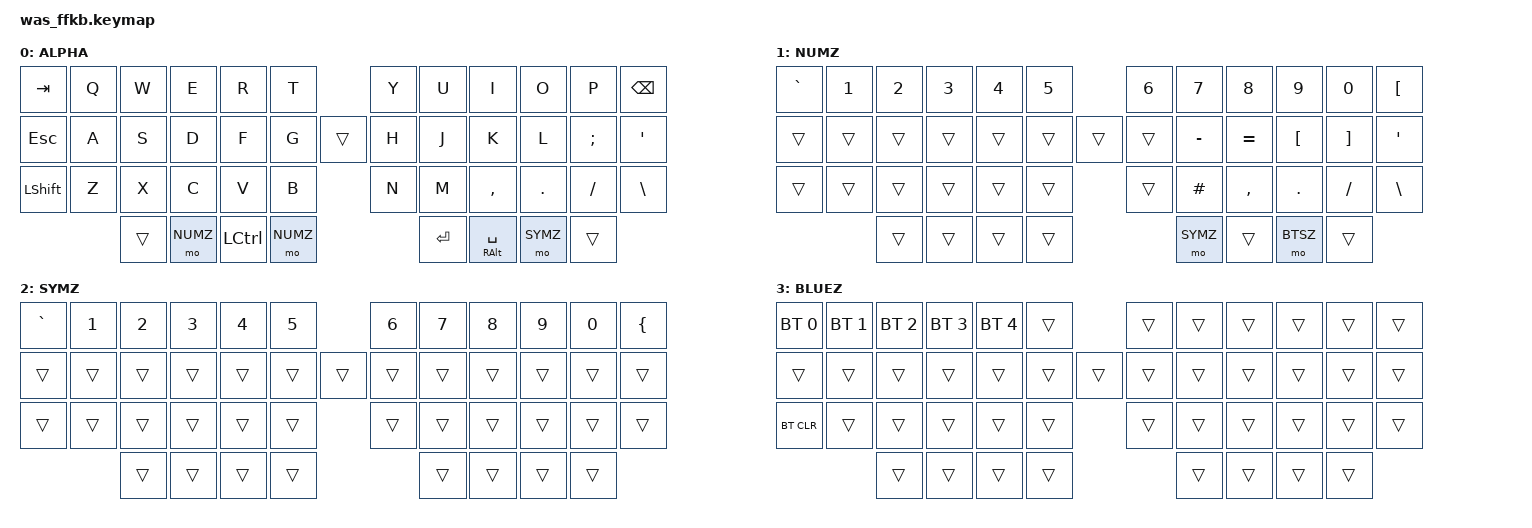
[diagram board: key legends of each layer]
#include <behaviors.dtsi>
#include <dt-bindings/zmk/keys.h>
#include <dt-bindings/zmk/bt.h>
#include <dt-bindings/zmk/ext_power.h>
#include <dt-bindings/zmk/outputs.h>

#define ALPH 0     // alphaz
#define NUMZ 1     // numz
#define SYMZ 2     // symz
#define BTSZ 3     // bluez

// slash like for comments, and equals

&mt {
    tapping-term-ms = <200>;
    flavor = "tap-preferred";
};

/ {
    // some other configs go here 
};

/ {

    keymap {
        compatible = "zmk,keymap";

        default_layer {
            label = "ALPHA";
            bindings = <
  //,--------|--------|--------|--------|--------|--------|                 |--------|--------|--------|--------|--------|--------|
     &kp TAB    &kp Q   &kp W    &kp E    &kp R    &kp T                      &kp Y    &kp U    &kp I    &kp O    &kp P   &kp BSPC
  //,--------|--------|--------|--------|--------|--------|                 |--------|--------|--------|--------|--------|--------|
     &kp ESC    &kp A   &kp S    &kp D    &kp F    &kp G        &trans        &kp H    &kp J    &kp K    &kp L   &kp SEMI  &kp SQT
  //,--------|--------|--------|--------|--------|--------|                 |--------|--------|--------|--------|--------|--------|
    &kp LSHIFT  &kp Z    &kp X    &kp C    &kp V    &kp B                     &kp N    &kp M   &kp COMMA  &kp DOT  &kp FSLH  &kp BSLH
  //,--------|--------|--------|--------|--------|--------|                 |--------|--------|--------|--------|--------|--------|
                       //&kp A    &kp S    &kp D    &kp F                       &kp G     &kp H    &kp J    &kp K    
                        &trans  &mo NUMZ  &kp LCTRL &mo NUMZ                  &kp RET   &mt RALT SPACE &mo SYMZ &trans
  //                           |--------|--------|--------|                 |--------|--------|--------|
            >;
        };

        nav_layer {
            label = "NUMZ";
            bindings = <
  //,--------|--------|--------|--------|--------|--------|                 |--------|--------|--------|--------|--------|--------|
    &kp GRAVE  &kp N1   &kp N2   &kp N3   &kp N4   &kp N5                     &kp N6   &kp N7   &kp N8   &kp N9   &kp N0  &kp LBKT
  //,--------|--------|--------|--------|--------|--------|                 |--------|--------|--------|--------|--------|--------|
    &trans     &trans   &trans   &trans   &trans   &trans        &trans       &trans  &kp MINUS &kp EQUAL &kp LBKT &kp RBKT &kp SQT
  //,--------|--------|--------|--------|--------|--------|                 |--------|--------|--------|--------|--------|--------|
    &trans     &trans   &trans   &trans   &trans   &trans                     &trans  &kp HASH &kp COMMA &kp DOT &kp FSLH &kp BSLH
  //,--------|--------|--------|--------|--------|--------|                 |--------|--------|--------|--------|--------|--------|
                        &trans    &trans   &trans  &trans                   &mo SYMZ  &trans  &mo BTSZ &trans
  //                           |--------|--------|--------|                 |--------|--------|--------|
  // 
            >;
        };

        sym_layer {
            label = "SYMZ";
            bindings = <
  //,--------|--------|--------|--------|--------|--------|                 |--------|--------|--------|--------|--------|--------|
    &kp GRAVE  &kp N1   &kp N2   &kp N3   &kp N4   &kp N5                     &kp N6   &kp N7   &kp N8   &kp N9   &kp N0  &kp LBRC
  //,--------|--------|--------|--------|--------|--------|                 |--------|--------|--------|--------|--------|--------|
    &trans     &trans   &trans   &trans   &trans   &trans        &trans       &trans     &trans   &trans   &trans   &trans   &trans
  //,--------|--------|--------|--------|--------|--------|                 |--------|--------|--------|--------|--------|--------|
    &trans     &trans   &trans   &trans   &trans   &trans                     &trans     &trans   &trans   &trans   &trans   &trans
  //,--------|--------|--------|--------|--------|--------|                 |--------|--------|--------|--------|--------|--------|
                        &trans  &trans    &trans   &trans                    &trans    &trans   &trans  &trans
  //                           |--------|--------|--------|                 |--------|--------|--------|
  // 
            >;
        };

        func_layer {
            label = "BLUEZ";
            bindings = <
  //,--------|--------|--------|--------|--------|--------|                 |--------|--------|--------|--------|--------|--------|
   &bt BT_SEL 0 &bt BT_SEL 1 &bt BT_SEL 2 &bt BT_SEL 3 &bt BT_SEL 4 &trans   &trans     &trans   &trans   &trans   &trans   &trans
  //,--------|--------|--------|--------|--------|--------|                 |--------|--------|--------|--------|--------|--------|
    &trans     &trans   &trans   &trans   &trans   &trans        &trans       &trans     &trans   &trans   &trans   &trans   &trans
  //,--------|--------|--------|--------|--------|--------|                 |--------|--------|--------|--------|--------|--------|
    &bt BT_CLR &trans   &trans   &trans   &trans   &trans                     &trans     &trans   &trans   &trans   &trans   &trans
  //,--------|--------|--------|--------|--------|--------|                 |--------|--------|--------|--------|--------|--------|
                        &trans   &trans    &trans   &trans                    &trans    &trans   &trans  &trans
  //                           |--------|--------|--------|                 |--------|--------|--------|
  // 
  //
  //
  /* WIP
  //,--------|--------|--------|--------|--------|--------|                 |--------|--------|--------|--------|--------|--------|
     &trans     &kp Q   &kp W    &kp E    &kp R    &kp T                      &kp Y    &kp U    &kp I    &kp O    &kp P     &trans
  //,--------|--------|--------|--------|--------|--------|                 |--------|--------|--------|--------|--------|--------|
     &trans     &kp A   &kp S    &kp D    &kp F    &kp G        &trans        &kp H    &kp J    &kp K    &kp L    &kp SEMI  &trans 
  //,--------|--------|--------|--------|--------|--------|                 |--------|--------|--------|--------|--------|--------|
     &trans     &kp Z    &kp X    &kp C    &kp V    &kp B                     &kp N    &kp M   &kp COMMA &kp DOT  &kp FSLH  &trans
  //,--------|--------|--------|--------|--------|--------|                 |--------|--------|--------|--------|--------|--------|
                    &trans  &kp LSHIFT  &mt LCTRL ESC &lt SYMZ BSPC          &lt NUMZ RET  &mt RALT SPACE &kp LSHIFT &trans
  //                           |--------|--------|--------|                 |--------|--------|--------|
  //                        //   shift     ctrl/esc    smz/BSPC                     numz/ret  alt/spc  shift
            >;
        };

        nav_layer {
            label = "NUMZ";
            bindings = <
  //,--------|--------|--------|--------|--------|--------|                 |--------|--------|--------|--------|--------|--------|
    &trans     &kp N1   &kp N2   &kp N3   &kp N4   &kp N5                     &kp N6   &kp N7   &kp N8   &kp N9   &kp N0    &trans
  //,--------|--------|--------|--------|--------|--------|                 |--------|--------|--------|--------|--------|--------|
    &trans     &trans   &trans   &trans   &trans   &trans        &trans       &trans  &kp MINUS &kp EQUAL &kp LBKT &kp RBKT &trans
  //,--------|--------|--------|--------|--------|--------|                 |--------|--------|--------|--------|--------|--------|
    &trans     &trans   &trans   &trans   &trans   &trans                     &trans  &kp HASH &kp COMMA &kp DOT &kp FSLH   &trans
  //,--------|--------|--------|--------|--------|--------|                 |--------|--------|--------|--------|--------|--------|
                        &trans    &trans   &trans  &trans                   &kp LSHIFT  &trans  &mo BTSZ &trans
  //                           |--------|--------|--------|                 |--------|--------|--------|
  // 
            >;
        };

        sym_layer {
            label = "SYMZ";
            bindings = <
  //,--------|--------|--------|--------|--------|--------|                 |--------|--------|--------|--------|--------|--------|
    &trans     &kp TAB &trans   &trans   &trans   &trans                     &trans     &trans   &trans   &trans  &kp LBKT &trans       //&kp LBRC
  //,--------|--------|--------|--------|--------|--------|                 |--------|--------|--------|--------|--------|--------|
    &trans     &kp ESC &trans   &trans   &trans   &trans        &trans       &trans     &trans   &trans   &trans  &kp SQT  &trans
  //,--------|--------|--------|--------|--------|--------|                 |--------|--------|--------|--------|--------|--------|
    &trans    &kp GRAVE &trans   &trans   &trans   &trans                     &trans     &trans   &trans  &trans  &kp BSLH &trans
  //,--------|--------|--------|--------|--------|--------|                 |--------|--------|--------|--------|--------|--------|
                        &trans  &trans    &trans   &trans                    &trans    &trans   &trans  &trans
  //                           |--------|--------|--------|                 |--------|--------|--------|
  // 
            >;
        };

        func_layer {
            label = "BLUEZ";
            bindings = <
  //,--------|--------|--------|--------|--------|--------|                 |--------|--------|--------|--------|--------|--------|
    &trans &bt BT_SEL 0 &bt BT_SEL 1 &bt BT_SEL 2 &bt BT_SEL 3 &bt BT_SEL 4 &trans   &trans     &trans   &trans   &trans   &trans
  //,--------|--------|--------|--------|--------|--------|                 |--------|--------|--------|--------|--------|--------|
    &trans     &trans   &trans   &trans   &trans   &trans        &trans       &trans     &trans   &trans   &trans   &trans   &trans
  //,--------|--------|--------|--------|--------|--------|                 |--------|--------|--------|--------|--------|--------|
    &trans    &bt BT_CLR  &trans   &trans   &trans   &trans                     &trans     &trans   &trans   &trans   &trans   &trans
  //,--------|--------|--------|--------|--------|--------|                 |--------|--------|--------|--------|--------|--------|
                        &trans   &trans    &trans   &trans                    &trans    &trans   &trans  &trans
  //                           |--------|--------|--------|                 |--------|--------|--------|
  // 
  // */
 
            >;
        };

    };
};
